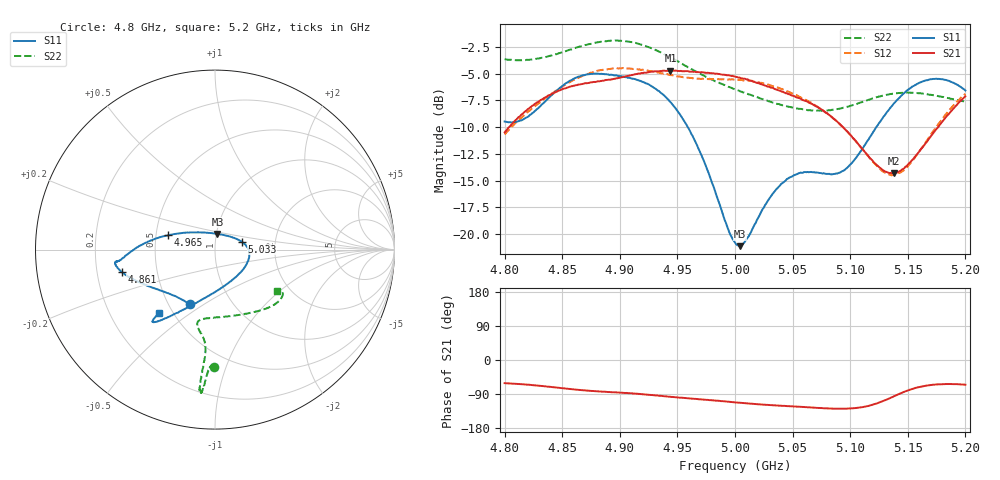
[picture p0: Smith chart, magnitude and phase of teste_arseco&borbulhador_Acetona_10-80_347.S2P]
! Network Analyzer HP8722D
! Hewlett-Packard
! Data name: Linha & Wilkinson
! Saver's name: Rodrigo Anjos
! Comments: Teste da utilização de aquisição
! continua pelo VNA HP8722D
! Time and date: 17/4/2025 17:15
!  Frequency  S11  S21  S12  S22
# HZ  S  MA R 50
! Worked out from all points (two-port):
!   401 points, 4.8 GHz to 5.2 GHz, reference 50 ohm
!   highest |S21| = -4.72 dB at 4.944 GHz (marker M1); lowest = -14.3 dB at 5.138 GHz (marker M2)
!   |S21| within 3 dB of the highest: 4.828 GHz to 5.064 GHz (236.4 MHz wide, 4.78 % of centre); 5.194253 GHz to end of sweep
!   lowest |S11| = -21.1 dB at 5.004 GHz (marker M3), VSWR 1.19, Z = 50.6 + j8.85 ohm
!   |S11| at or under -10 dB: 4.959 GHz to 5.123 GHz (163.7 MHz wide, 3.25 % of centre)
!   |S22| runs from -8.5 to -1.9 dB; largest |S21 - S12| = 0.87
!   S11 on the Smith chart (normalised r, x): 4.8 GHz: 0.64, -0.44; 4.861 GHz: 0.31, -0.11; 4.965 GHz: 0.58, +0.10; 5.033 GHz: 1.34, +0.12; 5.2 GHz: 0.42, -0.38
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4.8e9  0.3359 -114.8  0.2987 -61.1  0.2923 -175.3  0.6564 -90.4
4.819e9  0.3509 -134.8  0.3781 -65.0  0.3675 -174.4  0.652 -92.0
4.861e9  0.535 -166.6  0.4946 -77.9  0.528 -177.7  0.739 -94.3
4.867e9  0.5498 -168.9  0.5023 -79.5  0.5466 -178.9  0.756 -94.5
4.899e9  0.5472 -173.2  0.5365 -85.9  0.5934 174.6  0.8006 -95.9
4.934e9  0.4658 -179.0  0.5768 -94.4  0.5694 171.1  0.712 -96.2
4.944e9  0.4137 176.6  0.5811 -97.1  0.5532 171.3  0.6698 -95.9
4.965e9  0.2746 163.0  0.574 -102.7  0.5316 173.2  0.5796 -95.4
5e9  0.0912 96.4  0.5444 -111.7  0.5275 175.6  0.4748 -99.3
5.004e9  0.08786 81.1  0.5388 -112.8  0.5259 175.6  0.4663 -100.1
5.011e9  0.09636 56.5  0.5288 -114.6  0.5225 175.4  0.4518 -101.7
5.033e9  0.1552 16.7  0.4823 -119.4  0.4908 174.1  0.4113 -103.2
5.047e9  0.1835 2.7  0.4509 -121.9  0.4611 173.5  0.393 -100.1
5.067e9  0.1947 -18.6  0.4055 -125.4  0.4077 173.2  0.3787 -89.9
5.096e9  0.2014 -69.2  0.3068 -128.5  0.3073 174.6  0.3919 -67.3
5.122e9  0.3123 -109.0  0.2129 -115.9  0.2114 -170.5  0.4346 -49.2
5.134e9  0.3839 -118.5  0.1928 -101.2  0.1899 -154.2  0.4501 -43.1
5.138e9  0.4086 -120.5  0.1924 -95.8  0.1894 -147.9  0.4534 -41.4
5.151e9  0.4751 -126.1  0.2137 -79.3  0.2108 -128.8  0.4582 -36.7
5.17e9  0.5286 -130.2  0.2865 -65.9  0.2918 -112.2  0.4476 -32.4
5.184e9  0.5231 -131.3  0.3572 -63.4  0.3681 -107.7  0.4332 -31.5
5.2e9  0.4689 -131.5  0.4405 -65.2  0.4526 -107.3  0.4155 -33.8
